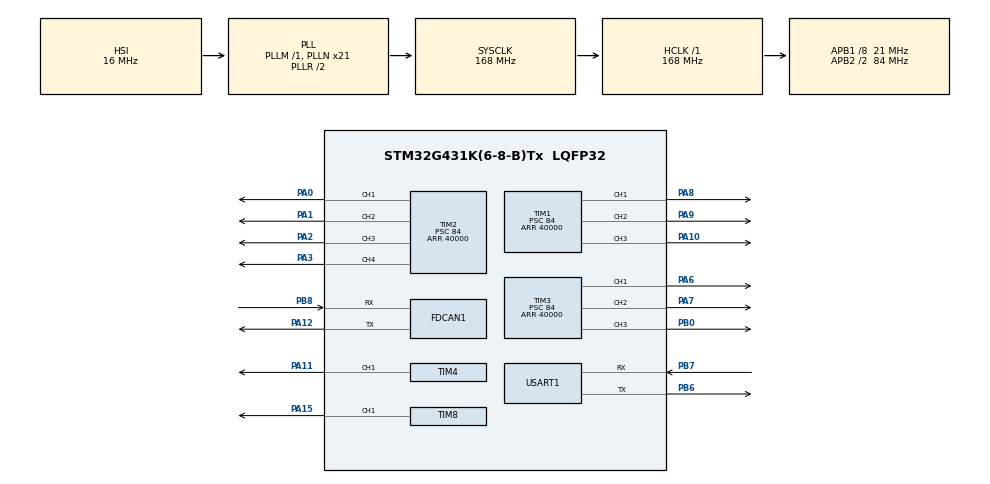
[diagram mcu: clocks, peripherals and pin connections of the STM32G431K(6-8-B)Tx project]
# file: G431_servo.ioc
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FDCAN1.CalculateBaudRateNominal=437500
FDCAN1.CalculateTimeBitNominal=2285
FDCAN1.CalculateTimeQuantumNominal=761.9047619047619
Mcu.Family=STM32G4
Mcu.Name=STM32G431K(6-8-B)Tx
Mcu.Package=LQFP32
NUCLEO-G431KB.LD2=true
NUCLEO-G431KB.VCP=true
NVIC.PriorityGroup=NVIC_PRIORITYGROUP_4
PA0.Signal=S_TIM2_CH1
PA1.Signal=S_TIM2_CH2
PA10.Signal=S_TIM1_CH3
PA11.Signal=S_TIM4_CH1
PA12.Mode=FDCAN_Activate
PA12.Signal=FDCAN1_TX
PA13.GPIO_Label=T_SWDIO
PA13.Signal=SYS_JTMS-SWDIO
PA14.GPIO_Label=T_SWCLK
PA14.Signal=SYS_JTCK-SWCLK
PA15.Signal=S_TIM8_CH1
PA2.Signal=S_TIM2_CH3
PA3.Signal=S_TIM2_CH4
PA6.Signal=S_TIM3_CH1
PA7.Signal=S_TIM3_CH2
PA8.Signal=S_TIM1_CH1
PA9.Signal=S_TIM1_CH2
PB0.Signal=S_TIM3_CH3
PB3.GPIO_Label=T_SWO
PB3.Signal=SYS_JTDO-SWO
PB6.Mode=Asynchronous
PB6.Signal=USART1_TX
PB7.Mode=Asynchronous
PB7.Signal=USART1_RX
PB8-BOOT0.Mode=FDCAN_Activate
PB8-BOOT0.Signal=FDCAN1_RX
ProjectManager.HeapSize=0x200
ProjectManager.StackSize=0x400
ProjectManager.TargetToolchain=CMake
RCC.ADC12Freq_Value=168000000
RCC.AHBFreq_Value=168000000
RCC.APB1CLKDivider=RCC_HCLK_DIV8
RCC.APB1Freq_Value=21000000
RCC.APB1TimFreq_Value=42000000
RCC.APB2CLKDivider=RCC_HCLK_DIV2
RCC.APB2Freq_Value=84000000
RCC.APB2TimFreq_Value=168000000
RCC.CortexFreq_Value=168000000
RCC.EXTERNAL_CLOCK_VALUE=12288000
RCC.HCLKFreq_Value=168000000
RCC.HSE_VALUE=8000000
RCC.HSI48_VALUE=48000000
RCC.HSI_VALUE=16000000
RCC.LSE_VALUE=32768
RCC.PLLN=21
RCC.SYSCLKFreq_VALUE=168000000
RCC.SYSCLKSource=RCC_SYSCLKSOURCE_PLLCLK
RCC.USBFreq_Value=168000000
RCC.VCOOutputFreq_Value=336000000
SH.S_TIM1_CH1.0=TIM1_CH1,PWM Generation1 CH1
SH.S_TIM1_CH2.0=TIM1_CH2,PWM Generation2 CH2
SH.S_TIM1_CH3.0=TIM1_CH3,PWM Generation3 CH3
SH.S_TIM2_CH1.0=TIM2_CH1,PWM Generation1 CH1
SH.S_TIM2_CH2.0=TIM2_CH2,PWM Generation2 CH2
SH.S_TIM2_CH3.0=TIM2_CH3,PWM Generation3 CH3
SH.S_TIM2_CH4.0=TIM2_CH4,PWM Generation4 CH4
SH.S_TIM3_CH1.0=TIM3_CH1,PWM Generation1 CH1
SH.S_TIM3_CH2.0=TIM3_CH2,PWM Generation2 CH2
SH.S_TIM3_CH3.0=TIM3_CH3,PWM Generation3 CH3
SH.S_TIM4_CH1.0=TIM4_CH1,PWM Generation1 CH1
SH.S_TIM8_CH1.0=TIM8_CH1,PWM Generation1 CH1
TIM1.Channel-PWM\ Generation1\ CH1=TIM_CHANNEL_1
TIM1.Channel-PWM\ Generation2\ CH2=TIM_CHANNEL_2
TIM1.Channel-PWM\ Generation3\ CH3=TIM_CHANNEL_3
TIM1.PeriodNoDither=40000
TIM1.Prescaler=84
TIM2.Channel-PWM\ Generation1\ CH1=TIM_CHANNEL_1
TIM2.Channel-PWM\ Generation2\ CH2=TIM_CHANNEL_2
TIM2.Channel-PWM\ Generation3\ CH3=TIM_CHANNEL_3
TIM2.Channel-PWM\ Generation4\ CH4=TIM_CHANNEL_4
TIM2.PeriodNoDither=40000
TIM2.Prescaler=84
TIM3.Channel-PWM\ Generation1\ CH1=TIM_CHANNEL_1
TIM3.Channel-PWM\ Generation2\ CH2=TIM_CHANNEL_2
TIM3.Channel-PWM\ Generation3\ CH3=TIM_CHANNEL_3
TIM3.PeriodNoDither=40000
TIM3.Prescaler=84
TIM4.Channel-PWM\ Generation1\ CH1=TIM_CHANNEL_1
TIM8.Channel-PWM\ Generation1\ CH1=TIM_CHANNEL_1
TIM8.PeriodNoDither=40000
TIM8.Prescaler=84
USART1.VirtualMode-Asynchronous=VM_ASYNC
VP_NUCLEO-G431KB_VS_BSP_COMMON.Mode=COMMON
VP_SYS_VS_DBSignals.Mode=DisableDeadBatterySignals
VP_TIM15_VS_ClockSourceINT.Mode=Internal
VP_TIM1_VS_ClockSourceINT.Mode=Internal
VP_TIM2_VS_ClockSourceINT.Mode=Internal
VP_TIM3_VS_ClockSourceINT.Mode=Internal
VP_TIM4_VS_ClockSourceINT.Mode=Internal
VP_TIM8_VS_ClockSourceINT.Mode=Internal
board=NUCLEO-G431KB

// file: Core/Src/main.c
/* USER CODE BEGIN Header */
/**
  ******************************************************************************
  * @file           : main.c
  * @brief          : Main program body
  ******************************************************************************
  * @attention
  *
  * Copyright (c) 2025 STMicroelectronics.
  * All rights reserved.
  *
  * This software is licensed under terms that can be found in the LICENSE file
  * in the root directory of this software component.
  * If no LICENSE file comes with this software, it is provided AS-IS.
  *
  ******************************************************************************
  */
/* USER CODE END Header */
#include "main.h"

/* USER CODE BEGIN Includes */
#include <stdio.h>
/* USER CODE END Includes */

COM_InitTypeDef BspCOMInit;

FDCAN_HandleTypeDef hfdcan1;

TIM_HandleTypeDef htim1;
TIM_HandleTypeDef htim2;
TIM_HandleTypeDef htim3;
TIM_HandleTypeDef htim4;
TIM_HandleTypeDef htim8;
TIM_HandleTypeDef htim15;

UART_HandleTypeDef huart1;

void SystemClock_Config(void);
static void MX_GPIO_Init(void);
static void MX_FDCAN1_Init(void);
static void MX_TIM1_Init(void);
static void MX_TIM2_Init(void);
static void MX_TIM3_Init(void);
static void MX_TIM8_Init(void);
static void MX_TIM15_Init(void);
static void MX_USART1_UART_Init(void);
static void MX_TIM4_Init(void);

int main(void)
{

  /* USER CODE BEGIN 1 */
  setbuf(stdout, NULL);  // Disable buffering for stdout
  /* USER CODE END 1 */

  /* MCU Configuration--------------------------------------------------------*/

  /* Reset of all peripherals, Initializes the Flash interface and the Systick. */
  HAL_Init();

  /* Configure the system clock */
  SystemClock_Config();

  /* Initialize all configured peripherals */
  MX_GPIO_Init();
  MX_FDCAN1_Init();
  MX_TIM1_Init();
  MX_TIM2_Init();
  MX_TIM3_Init();
  MX_TIM8_Init();
  MX_TIM15_Init();
  MX_USART1_UART_Init();
  MX_TIM4_Init();
  /* USER CODE BEGIN 2 */
  HAL_TIM_PWM_Start(&htim1, TIM_CHANNEL_1);
  HAL_TIM_PWM_Start(&htim1, TIM_CHANNEL_2);
  HAL_TIM_PWM_Start(&htim1, TIM_CHANNEL_3);
  HAL_TIM_PWM_Start(&htim2, TIM_CHANNEL_1);
  HAL_TIM_PWM_Start(&htim2, TIM_CHANNEL_2);
  HAL_TIM_PWM_Start(&htim2, TIM_CHANNEL_3);
  HAL_TIM_PWM_Start(&htim2, TIM_CHANNEL_4);
  HAL_TIM_PWM_Start(&htim3, TIM_CHANNEL_1);
  HAL_TIM_PWM_Start(&htim3, TIM_CHANNEL_2);
  HAL_TIM_PWM_Start(&htim3, TIM_CHANNEL_3);
  HAL_TIM_PWM_Start(&htim4, TIM_CHANNEL_1);
  HAL_TIM_PWM_Start(&htim8, TIM_CHANNEL_1);
  /* USER CODE END 2 */

  /* Initialize leds */
  BSP_LED_Init(LED_GREEN);

  /* Initialize COM1 port (115200, 8 bits (7-bit data + 1 stop bit), no parity */
  BspCOMInit.BaudRate   = 115200;
  BspCOMInit.WordLength = COM_WORDLENGTH_8B;
  BspCOMInit.StopBits   = COM_STOPBITS_1;
  BspCOMInit.Parity     = COM_PARITY_NONE;
  BspCOMInit.HwFlowCtl  = COM_HWCONTROL_NONE;
  if (BSP_COM_Init(COM1, &BspCOMInit) != BSP_ERROR_NONE)
  {
    Error_Handler();
  }

  /* Infinite loop */
  while (1)
  {

    /* USER CODE BEGIN 3 */
    __HAL_TIM_SET_COMPARE(&htim1,TIM_CHANNEL_1,2000);
    __HAL_TIM_SET_COMPARE(&htim1,TIM_CHANNEL_2,2000);
    __HAL_TIM_SET_COMPARE(&htim1,TIM_CHANNEL_3,2000);
    __HAL_TIM_SET_COMPARE(&htim2,TIM_CHANNEL_1,2000);
    __HAL_TIM_SET_COMPARE(&htim2,TIM_CHANNEL_2,2000);
    __HAL_TIM_SET_COMPARE(&htim2,TIM_CHANNEL_1,2000);
    __HAL_TIM_SET_COMPARE(&htim2,TIM_CHANNEL_2,2000);
    __HAL_TIM_SET_COMPARE(&htim3,TIM_CHANNEL_3,2000);
    __HAL_TIM_SET_COMPARE(&htim3,TIM_CHANNEL_1,2000);
    __HAL_TIM_SET_COMPARE(&htim3,TIM_CHANNEL_2,2000);
    __HAL_TIM_SET_COMPARE(&htim4,TIM_CHANNEL_1,2000);
    __HAL_TIM_SET_COMPARE(&htim8,TIM_CHANNEL_1,2000);
	  HAL_Delay(1000);

    __HAL_TIM_SET_COMPARE(&htim1,TIM_CHANNEL_1,3000);
    __HAL_TIM_SET_COMPARE(&htim1,TIM_CHANNEL_2,3000);
    __HAL_TIM_SET_COMPARE(&htim1,TIM_CHANNEL_3,3000);
    __HAL_TIM_SET_COMPARE(&htim2,TIM_CHANNEL_1,3000);
    __HAL_TIM_SET_COMPARE(&htim2,TIM_CHANNEL_2,3000);
    __HAL_TIM_SET_COMPARE(&htim2,TIM_CHANNEL_1,3000);
    __HAL_TIM_SET_COMPARE(&htim2,TIM_CHANNEL_2,3000);
    __HAL_TIM_SET_COMPARE(&htim3,TIM_CHANNEL_3,3000);
    __HAL_TIM_SET_COMPARE(&htim3,TIM_CHANNEL_1,3000);
    __HAL_TIM_SET_COMPARE(&htim3,TIM_CHANNEL_2,3000);
    __HAL_TIM_SET_COMPARE(&htim4,TIM_CHANNEL_1,3000);
    __HAL_TIM_SET_COMPARE(&htim8,TIM_CHANNEL_1,3000);
	  HAL_Delay(1000);

    __HAL_TIM_SET_COMPARE(&htim1,TIM_CHANNEL_1,4000);
    __HAL_TIM_SET_COMPARE(&htim1,TIM_CHANNEL_2,4000);
    __HAL_TIM_SET_COMPARE(&htim1,TIM_CHANNEL_3,4000);
    __HAL_TIM_SET_COMPARE(&htim2,TIM_CHANNEL_1,4000);
    __HAL_TIM_SET_COMPARE(&htim2,TIM_CHANNEL_2,4000);
    __HAL_TIM_SET_COMPARE(&htim2,TIM_CHANNEL_1,4000);
    __HAL_TIM_SET_COMPARE(&htim2,TIM_CHANNEL_2,4000);
    __HAL_TIM_SET_COMPARE(&htim3,TIM_CHANNEL_3,4000);
    __HAL_TIM_SET_COMPARE(&htim3,TIM_CHANNEL_1,4000);
    __HAL_TIM_SET_COMPARE(&htim3,TIM_CHANNEL_2,4000);
    __HAL_TIM_SET_COMPARE(&htim4,TIM_CHANNEL_1,4000);
    __HAL_TIM_SET_COMPARE(&htim8,TIM_CHANNEL_1,4000);
	  HAL_Delay(1000);
  }
  /* USER CODE END 3 */
}

void SystemClock_Config(void)
{
  RCC_OscInitTypeDef RCC_OscInitStruct = {0};
  RCC_ClkInitTypeDef RCC_ClkInitStruct = {0};

  /** Configure the main internal regulator output voltage
  */
  HAL_PWREx_ControlVoltageScaling(PWR_REGULATOR_VOLTAGE_SCALE1_BOOST);

  /** Initializes the RCC Oscillators according to the specified parameters
  * in the RCC_OscInitTypeDef structure.
  */
  RCC_OscInitStruct.OscillatorType = RCC_OSCILLATORTYPE_HSI;
  RCC_OscInitStruct.HSIState = RCC_HSI_ON;
  RCC_OscInitStruct.HSICalibrationValue = RCC_HSICALIBRATION_DEFAULT;
  RCC_OscInitStruct.PLL.PLLState = RCC_PLL_ON;
  RCC_OscInitStruct.PLL.PLLSource = RCC_PLLSOURCE_HSI;
  RCC_OscInitStruct.PLL.PLLM = RCC_PLLM_DIV1;
  RCC_OscInitStruct.PLL.PLLN = 21;
  RCC_OscInitStruct.PLL.PLLP = RCC_PLLP_DIV2;
  RCC_OscInitStruct.PLL.PLLQ = RCC_PLLQ_DIV2;
  RCC_OscInitStruct.PLL.PLLR = RCC_PLLR_DIV2;
  if (HAL_RCC_OscConfig(&RCC_OscInitStruct) != HAL_OK)
  {
    Error_Handler();
  }

  /** Initializes the CPU, AHB and APB buses clocks
  */
  RCC_ClkInitStruct.ClockType = RCC_CLOCKTYPE_HCLK|RCC_CLOCKTYPE_SYSCLK
                              |RCC_CLOCKTYPE_PCLK1|RCC_CLOCKTYPE_PCLK2;
  RCC_ClkInitStruct.SYSCLKSource = RCC_SYSCLKSOURCE_PLLCLK;
  RCC_ClkInitStruct.AHBCLKDivider = RCC_SYSCLK_DIV1;
  RCC_ClkInitStruct.APB1CLKDivider = RCC_HCLK_DIV8;
  RCC_ClkInitStruct.APB2CLKDivider = RCC_HCLK_DIV2;

  if (HAL_RCC_ClockConfig(&RCC_ClkInitStruct, FLASH_LATENCY_4) != HAL_OK)
  {
    Error_Handler();
  }
}

static void MX_FDCAN1_Init(void)
{

  hfdcan1.Instance = FDCAN1;
  hfdcan1.Init.ClockDivider = FDCAN_CLOCK_DIV1;
  hfdcan1.Init.FrameFormat = FDCAN_FRAME_CLASSIC;
  hfdcan1.Init.Mode = FDCAN_MODE_NORMAL;
  hfdcan1.Init.AutoRetransmission = DISABLE;
  hfdcan1.Init.TransmitPause = DISABLE;
  hfdcan1.Init.ProtocolException = DISABLE;
  hfdcan1.Init.NominalPrescaler = 16;
  hfdcan1.Init.NominalSyncJumpWidth = 1;
  hfdcan1.Init.NominalTimeSeg1 = 1;
  hfdcan1.Init.NominalTimeSeg2 = 1;
  hfdcan1.Init.DataPrescaler = 1;
  hfdcan1.Init.DataSyncJumpWidth = 1;
  hfdcan1.Init.DataTimeSeg1 = 1;
  hfdcan1.Init.DataTimeSeg2 = 1;
  hfdcan1.Init.StdFiltersNbr = 0;
  hfdcan1.Init.ExtFiltersNbr = 0;
  hfdcan1.Init.TxFifoQueueMode = FDCAN_TX_FIFO_OPERATION;
  if (HAL_FDCAN_Init(&hfdcan1) != HAL_OK)
  {
    Error_Handler();
  }

}

static void MX_TIM1_Init(void)
{

  TIM_ClockConfigTypeDef sClockSourceConfig = {0};
  TIM_MasterConfigTypeDef sMasterConfig = {0};
  TIM_OC_InitTypeDef sConfigOC = {0};
  TIM_BreakDeadTimeConfigTypeDef sBreakDeadTimeConfig = {0};

  htim1.Instance = TIM1;
  htim1.Init.Prescaler = 84;
  htim1.Init.CounterMode = TIM_COUNTERMODE_UP;
  htim1.Init.Period = 40000;
  htim1.Init.ClockDivision = TIM_CLOCKDIVISION_DIV1;
  htim1.Init.RepetitionCounter = 0;
  htim1.Init.AutoReloadPreload = TIM_AUTORELOAD_PRELOAD_DISABLE;
  if (HAL_TIM_Base_Init(&htim1) != HAL_OK)
  {
    Error_Handler();
  }
  sClockSourceConfig.ClockSource = TIM_CLOCKSOURCE_INTERNAL;
  if (HAL_TIM_ConfigClockSource(&htim1, &sClockSourceConfig) != HAL_OK)
  {
    Error_Handler();
  }
  if (HAL_TIM_PWM_Init(&htim1) != HAL_OK)
  {
    Error_Handler();
  }
  sMasterConfig.MasterOutputTrigger = TIM_TRGO_RESET;
  sMasterConfig.MasterOutputTrigger2 = TIM_TRGO2_RESET;
  sMasterConfig.MasterSlaveMode = TIM_MASTERSLAVEMODE_DISABLE;
  if (HAL_TIMEx_MasterConfigSynchronization(&htim1, &sMasterConfig) != HAL_OK)
  {
    Error_Handler();
  }
  sConfigOC.OCMode = TIM_OCMODE_PWM1;
  sConfigOC.Pulse = 0;
  sConfigOC.OCPolarity = TIM_OCPOLARITY_HIGH;
  sConfigOC.OCNPolarity = TIM_OCNPOLARITY_HIGH;
  sConfigOC.OCFastMode = TIM_OCFAST_DISABLE;
  sConfigOC.OCIdleState = TIM_OCIDLESTATE_RESET;
  sConfigOC.OCNIdleState = TIM_OCNIDLESTATE_RESET;
  if (HAL_TIM_PWM_ConfigChannel(&htim1, &sConfigOC, TIM_CHANNEL_1) != HAL_OK)
  {
    Error_Handler();
  }
  if (HAL_TIM_PWM_ConfigChannel(&htim1, &sConfigOC, TIM_CHANNEL_2) != HAL_OK)
  {
    Error_Handler();
  }
  if (HAL_TIM_PWM_ConfigChannel(&htim1, &sConfigOC, TIM_CHANNEL_3) != HAL_OK)
  {
    Error_Handler();
  }
  sBreakDeadTimeConfig.OffStateRunMode = TIM_OSSR_DISABLE;
  sBreakDeadTimeConfig.OffStateIDLEMode = TIM_OSSI_DISABLE;
  sBreakDeadTimeConfig.LockLevel = TIM_LOCKLEVEL_OFF;
  sBreakDeadTimeConfig.DeadTime = 0;
  sBreakDeadTimeConfig.BreakState = TIM_BREAK_DISABLE;
  sBreakDeadTimeConfig.BreakPolarity = TIM_BREAKPOLARITY_HIGH;
  sBreakDeadTimeConfig.BreakFilter = 0;
  sBreakDeadTimeConfig.BreakAFMode = TIM_BREAK_AFMODE_INPUT;
  sBreakDeadTimeConfig.Break2State = TIM_BREAK2_DISABLE;
  sBreakDeadTimeConfig.Break2Polarity = TIM_BREAK2POLARITY_HIGH;
  sBreakDeadTimeConfig.Break2Filter = 0;
  sBreakDeadTimeConfig.Break2AFMode = TIM_BREAK_AFMODE_INPUT;
  sBreakDeadTimeConfig.AutomaticOutput = TIM_AUTOMATICOUTPUT_DISABLE;
  if (HAL_TIMEx_ConfigBreakDeadTime(&htim1, &sBreakDeadTimeConfig) != HAL_OK)
  {
    Error_Handler();
  }
  HAL_TIM_MspPostInit(&htim1);

}

static void MX_TIM2_Init(void)
{

  TIM_ClockConfigTypeDef sClockSourceConfig = {0};
  TIM_MasterConfigTypeDef sMasterConfig = {0};
  TIM_OC_InitTypeDef sConfigOC = {0};

  htim2.Instance = TIM2;
  htim2.Init.Prescaler = 84;
  htim2.Init.CounterMode = TIM_COUNTERMODE_UP;
  htim2.Init.Period = 40000;
  htim2.Init.ClockDivision = TIM_CLOCKDIVISION_DIV1;
  htim2.Init.AutoReloadPreload = TIM_AUTORELOAD_PRELOAD_DISABLE;
  if (HAL_TIM_Base_Init(&htim2) != HAL_OK)
  {
    Error_Handler();
  }
  sClockSourceConfig.ClockSource = TIM_CLOCKSOURCE_INTERNAL;
  if (HAL_TIM_ConfigClockSource(&htim2, &sClockSourceConfig) != HAL_OK)
  {
    Error_Handler();
  }
  if (HAL_TIM_PWM_Init(&htim2) != HAL_OK)
  {
    Error_Handler();
  }
  sMasterConfig.MasterOutputTrigger = TIM_TRGO_RESET;
  sMasterConfig.MasterSlaveMode = TIM_MASTERSLAVEMODE_DISABLE;
  if (HAL_TIMEx_MasterConfigSynchronization(&htim2, &sMasterConfig) != HAL_OK)
  {
    Error_Handler();
  }
  sConfigOC.OCMode = TIM_OCMODE_PWM1;
  sConfigOC.Pulse = 0;
  sConfigOC.OCPolarity = TIM_OCPOLARITY_HIGH;
  sConfigOC.OCFastMode = TIM_OCFAST_DISABLE;
  if (HAL_TIM_PWM_ConfigChannel(&htim2, &sConfigOC, TIM_CHANNEL_1) != HAL_OK)
  {
    Error_Handler();
  }
  if (HAL_TIM_PWM_ConfigChannel(&htim2, &sConfigOC, TIM_CHANNEL_2) != HAL_OK)
  {
    Error_Handler();
  }
  if (HAL_TIM_PWM_ConfigChannel(&htim2, &sConfigOC, TIM_CHANNEL_3) != HAL_OK)
  {
    Error_Handler();
  }
  if (HAL_TIM_PWM_ConfigChannel(&htim2, &sConfigOC, TIM_CHANNEL_4) != HAL_OK)
  {
    Error_Handler();
  }
  HAL_TIM_MspPostInit(&htim2);

}

static void MX_TIM3_Init(void)
{

  TIM_ClockConfigTypeDef sClockSourceConfig = {0};
  TIM_MasterConfigTypeDef sMasterConfig = {0};
  TIM_OC_InitTypeDef sConfigOC = {0};

  htim3.Instance = TIM3;
  htim3.Init.Prescaler = 84;
  htim3.Init.CounterMode = TIM_COUNTERMODE_UP;
  htim3.Init.Period = 40000;
  htim3.Init.ClockDivision = TIM_CLOCKDIVISION_DIV1;
  htim3.Init.AutoReloadPreload = TIM_AUTORELOAD_PRELOAD_DISABLE;
  if (HAL_TIM_Base_Init(&htim3) != HAL_OK)
  {
    Error_Handler();
  }
  sClockSourceConfig.ClockSource = TIM_CLOCKSOURCE_INTERNAL;
  if (HAL_TIM_ConfigClockSource(&htim3, &sClockSourceConfig) != HAL_OK)
  {
    Error_Handler();
  }
  if (HAL_TIM_PWM_Init(&htim3) != HAL_OK)
  {
    Error_Handler();
  }
  sMasterConfig.MasterOutputTrigger = TIM_TRGO_RESET;
  sMasterConfig.MasterSlaveMode = TIM_MASTERSLAVEMODE_DISABLE;
  if (HAL_TIMEx_MasterConfigSynchronization(&htim3, &sMasterConfig) != HAL_OK)
  {
    Error_Handler();
  }
  sConfigOC.OCMode = TIM_OCMODE_PWM1;
  sConfigOC.Pulse = 0;
  sConfigOC.OCPolarity = TIM_OCPOLARITY_HIGH;
  sConfigOC.OCFastMode = TIM_OCFAST_DISABLE;
  if (HAL_TIM_PWM_ConfigChannel(&htim3, &sConfigOC, TIM_CHANNEL_1) != HAL_OK)
  {
    Error_Handler();
  }
  if (HAL_TIM_PWM_ConfigChannel(&htim3, &sConfigOC, TIM_CHANNEL_2) != HAL_OK)
  {
    Error_Handler();
  }
  if (HAL_TIM_PWM_ConfigChannel(&htim3, &sConfigOC, TIM_CHANNEL_3) != HAL_OK)
  {
    Error_Handler();
  }
  HAL_TIM_MspPostInit(&htim3);

}

static void MX_TIM4_Init(void)
{

  TIM_ClockConfigTypeDef sClockSourceConfig = {0};
  TIM_MasterConfigTypeDef sMasterConfig = {0};
  TIM_OC_InitTypeDef sConfigOC = {0};

  htim4.Instance = TIM4;
  htim4.Init.Prescaler = 0;
  htim4.Init.CounterMode = TIM_COUNTERMODE_UP;
  htim4.Init.Period = 65535;
  htim4.Init.ClockDivision = TIM_CLOCKDIVISION_DIV1;
  htim4.Init.AutoReloadPreload = TIM_AUTORELOAD_PRELOAD_DISABLE;
  if (HAL_TIM_Base_Init(&htim4) != HAL_OK)
  {
    Error_Handler();
  }
  sClockSourceConfig.ClockSource = TIM_CLOCKSOURCE_INTERNAL;
  if (HAL_TIM_ConfigClockSource(&htim4, &sClockSourceConfig) != HAL_OK)
  {
    Error_Handler();
  }
  if (HAL_TIM_PWM_Init(&htim4) != HAL_OK)
  {
    Error_Handler();
  }
  sMasterConfig.MasterOutputTrigger = TIM_TRGO_RESET;
  sMasterConfig.MasterSlaveMode = TIM_MASTERSLAVEMODE_DISABLE;
  if (HAL_TIMEx_MasterConfigSynchronization(&htim4, &sMasterConfig) != HAL_OK)
  {
    Error_Handler();
  }
  sConfigOC.OCMode = TIM_OCMODE_PWM1;
  sConfigOC.Pulse = 0;
  sConfigOC.OCPolarity = TIM_OCPOLARITY_HIGH;
  sConfigOC.OCFastMode = TIM_OCFAST_DISABLE;
  if (HAL_TIM_PWM_ConfigChannel(&htim4, &sConfigOC, TIM_CHANNEL_1) != HAL_OK)
  {
    Error_Handler();
  }
  HAL_TIM_MspPostInit(&htim4);

}

static void MX_TIM8_Init(void)
{

  TIM_ClockConfigTypeDef sClockSourceConfig = {0};
  TIM_MasterConfigTypeDef sMasterConfig = {0};
  TIM_OC_InitTypeDef sConfigOC = {0};
  TIM_BreakDeadTimeConfigTypeDef sBreakDeadTimeConfig = {0};

  htim8.Instance = TIM8;
  htim8.Init.Prescaler = 84;
  htim8.Init.CounterMode = TIM_COUNTERMODE_UP;
  htim8.Init.Period = 40000;
  htim8.Init.ClockDivision = TIM_CLOCKDIVISION_DIV1;
  htim8.Init.RepetitionCounter = 0;
  htim8.Init.AutoReloadPreload = TIM_AUTORELOAD_PRELOAD_DISABLE;
  if (HAL_TIM_Base_Init(&htim8) != HAL_OK)
  {
    Error_Handler();
  }
  sClockSourceConfig.ClockSource = TIM_CLOCKSOURCE_INTERNAL;
  if (HAL_TIM_ConfigClockSource(&htim8, &sClockSourceConfig) != HAL_OK)
  {
    Error_Handler();
  }
  if (HAL_TIM_PWM_Init(&htim8) != HAL_OK)
  {
    Error_Handler();
  }
  sMasterConfig.MasterOutputTrigger = TIM_TRGO_RESET;
  sMasterConfig.MasterOutputTrigger2 = TIM_TRGO2_RESET;
  sMasterConfig.MasterSlaveMode = TIM_MASTERSLAVEMODE_DISABLE;
  if (HAL_TIMEx_MasterConfigSynchronization(&htim8, &sMasterConfig) != HAL_OK)
  {
    Error_Handler();
  }
  sConfigOC.OCMode = TIM_OCMODE_PWM1;
  sConfigOC.Pulse = 0;
  sConfigOC.OCPolarity = TIM_OCPOLARITY_HIGH;
  sConfigOC.OCNPolarity = TIM_OCNPOLARITY_HIGH;
  sConfigOC.OCFastMode = TIM_OCFAST_DISABLE;
  sConfigOC.OCIdleState = TIM_OCIDLESTATE_RESET;
  sConfigOC.OCNIdleState = TIM_OCNIDLESTATE_RESET;
  if (HAL_TIM_PWM_ConfigChannel(&htim8, &sConfigOC, TIM_CHANNEL_1) != HAL_OK)
  {
    Error_Handler();
  }
  sBreakDeadTimeConfig.OffStateRunMode = TIM_OSSR_DISABLE;
  sBreakDeadTimeConfig.OffStateIDLEMode = TIM_OSSI_DISABLE;
  sBreakDeadTimeConfig.LockLevel = TIM_LOCKLEVEL_OFF;
  sBreakDeadTimeConfig.DeadTime = 0;
  sBreakDeadTimeConfig.BreakState = TIM_BREAK_DISABLE;
  sBreakDeadTimeConfig.BreakPolarity = TIM_BREAKPOLARITY_HIGH;
  sBreakDeadTimeConfig.BreakFilter = 0;
  sBreakDeadTimeConfig.BreakAFMode = TIM_BREAK_AFMODE_INPUT;
  sBreakDeadTimeConfig.Break2State = TIM_BREAK2_DISABLE;
  sBreakDeadTimeConfig.Break2Polarity = TIM_BREAK2POLARITY_HIGH;
  sBreakDeadTimeConfig.Break2Filter = 0;
  sBreakDeadTimeConfig.Break2AFMode = TIM_BREAK_AFMODE_INPUT;
  sBreakDeadTimeConfig.AutomaticOutput = TIM_AUTOMATICOUTPUT_DISABLE;
  if (HAL_TIMEx_ConfigBreakDeadTime(&htim8, &sBreakDeadTimeConfig) != HAL_OK)
  {
    Error_Handler();
  }
  HAL_TIM_MspPostInit(&htim8);

}

static void MX_TIM15_Init(void)
{

  TIM_ClockConfigTypeDef sClockSourceConfig = {0};
  TIM_MasterConfigTypeDef sMasterConfig = {0};

  htim15.Instance = TIM15;
  htim15.Init.Prescaler = 0;
  htim15.Init.CounterMode = TIM_COUNTERMODE_UP;
  htim15.Init.Period = 65535;
  htim15.Init.ClockDivision = TIM_CLOCKDIVISION_DIV1;
  htim15.Init.RepetitionCounter = 0;
  htim15.Init.AutoReloadPreload = TIM_AUTORELOAD_PRELOAD_DISABLE;
  if (HAL_TIM_Base_Init(&htim15) != HAL_OK)
  {
    Error_Handler();
  }
  sClockSourceConfig.ClockSource = TIM_CLOCKSOURCE_INTERNAL;
  if (HAL_TIM_ConfigClockSource(&htim15, &sClockSourceConfig) != HAL_OK)
  {
    Error_Handler();
  }
  sMasterConfig.MasterOutputTrigger = TIM_TRGO_RESET;
  sMasterConfig.MasterSlaveMode = TIM_MASTERSLAVEMODE_DISABLE;
  if (HAL_TIMEx_MasterConfigSynchronization(&htim15, &sMasterConfig) != HAL_OK)
  {
    Error_Handler();
  }

}

static void MX_USART1_UART_Init(void)
{

  huart1.Instance = USART1;
  huart1.Init.BaudRate = 115200;
  huart1.Init.WordLength = UART_WORDLENGTH_8B;
  huart1.Init.StopBits = UART_STOPBITS_1;
  huart1.Init.Parity = UART_PARITY_NONE;
  huart1.Init.Mode = UART_MODE_TX_RX;
  huart1.Init.HwFlowCtl = UART_HWCONTROL_NONE;
  huart1.Init.OverSampling = UART_OVERSAMPLING_16;
  huart1.Init.OneBitSampling = UART_ONE_BIT_SAMPLE_DISABLE;
  huart1.Init.ClockPrescaler = UART_PRESCALER_DIV1;
  huart1.AdvancedInit.AdvFeatureInit = UART_ADVFEATURE_NO_INIT;
  if (HAL_UART_Init(&huart1) != HAL_OK)
  {
    Error_Handler();
  }
  if (HAL_UARTEx_SetTxFifoThreshold(&huart1, UART_TXFIFO_THRESHOLD_1_8) != HAL_OK)
  {
    Error_Handler();
  }
  if (HAL_UARTEx_SetRxFifoThreshold(&huart1, UART_RXFIFO_THRESHOLD_1_8) != HAL_OK)
  {
    Error_Handler();
  }
  if (HAL_UARTEx_DisableFifoMode(&huart1) != HAL_OK)
  {
    Error_Handler();
  }

}

static void MX_GPIO_Init(void)
{

  /* GPIO Ports Clock Enable */
  __HAL_RCC_GPIOA_CLK_ENABLE();
  __HAL_RCC_GPIOB_CLK_ENABLE();

}

/* USER CODE BEGIN 4 */
int io_putchar(int ch)
{
  HAL_UART_Transmit(&huart1, (uint8_t *)&ch, 1, HAL_MAX_DELAY);
  return ch;
}
/* USER CODE END 4 */

/* USER CODE BEGIN Header */
/**
  ******************************************************************************
  * @file           : main.c
  * @brief          : Main program body
  ******************************************************************************
  * @attention
  *
  * Copyright (c) 2025 STMicroelectronics.
  * All rights reserved.
  *
  * This software is licensed under terms that can be found in the LICENSE file
  * in the root directory of this software component.
  * If no LICENSE file comes with this software, it is provided AS-IS.
  *
  ******************************************************************************
  */
/* USER CODE END Header */

void Error_Handler(void)
{
  __disable_irq();
  while (1)
  {
  }
}
